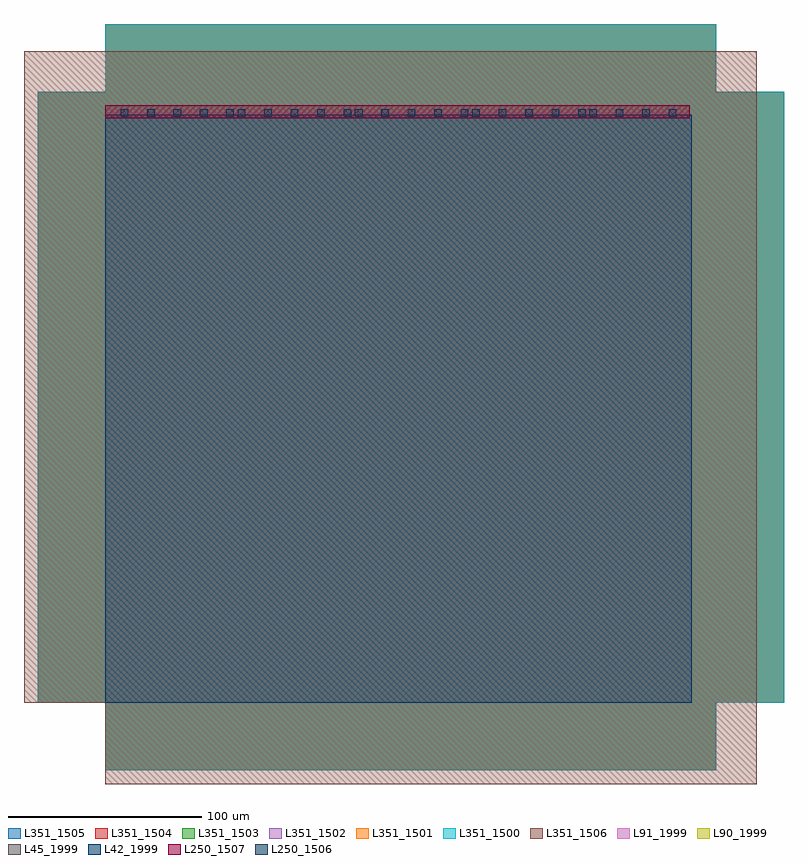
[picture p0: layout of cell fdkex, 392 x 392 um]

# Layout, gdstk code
import gdstk
lib = gdstk.Library(unit=1e-6, precision=1e-10)
def R(c, l, rs):  # rectangles x0, y0, x1, y1
    for r in rs: c.add(gdstk.rectangle(r[:2], r[2:], *l))
def A(c, l, x, y, w, h, nx, ny, dx, dy):  # array of equal rectangles
    R(c, l, [(x+i*dx, y+j*dy, x+i*dx+w, y+j*dy+h) for i in range(nx) for j in range(ny)])
L42_1999 = (42, 1999)
L45_1999 = (45, 1999)
L90_1999 = (90, 1999)
L91_1999 = (91, 1999)
L250_1506 = (250, 1506)
L250_1507 = (250, 1507)
L351_1500 = (351, 1500)
L351_1501 = (351, 1501)
L351_1502 = (351, 1502)
L351_1503 = (351, 1503)
L351_1504 = (351, 1504)
L351_1505 = (351, 1505)
L351_1506 = (351, 1506)

fdkex = lib.new_cell('fdkex')
R(fdkex, L42_1999, [(0,0,302.4,303.24)])
R(fdkex, L45_1999, [(0,0,302.4,303.24)])
R(fdkex, L90_1999, [(0,0,302.4,303.24)])
R(fdkex, L91_1999, [(0,0,302.4,303.24)])
A(fdkex, L250_1506, 7.8, 302.25, 3.9, 3.9, 5, 1, 13.65, 0)
A(fdkex, L250_1506, 68.25, 302.25, 3.9, 3.9, 5, 1, 13.65, 0)
A(fdkex, L250_1506, 128.7, 302.25, 3.9, 3.9, 5, 1, 13.65, 0)
A(fdkex, L250_1506, 189.15, 302.25, 3.9, 3.9, 5, 1, 13.65, 0)
A(fdkex, L250_1506, 249.6, 302.25, 3.9, 3.9, 4, 1, 13.65, 0)
A(fdkex, L250_1507, 0, 301.5, 6.7, 6.7, 89, 1, 3.35, 0)
A(fdkex, L351_1500, 0, -35, 70, 70, 8, 2, 35, 315)
A(fdkex, L351_1500, -35, 0, 70, 70, 10, 8, 35, 35)
A(fdkex, L351_1501, 0, -35, 70, 70, 8, 2, 35, 315)
A(fdkex, L351_1501, -35, 0, 70, 70, 10, 8, 35, 35)
A(fdkex, L351_1502, 0, -35, 70, 70, 8, 2, 35, 315)
A(fdkex, L351_1502, -35, 0, 70, 70, 10, 8, 35, 35)
A(fdkex, L351_1503, 0, -35, 70, 70, 8, 2, 35, 315)
A(fdkex, L351_1503, -35, 0, 70, 70, 10, 8, 35, 35)
A(fdkex, L351_1504, 0, -35, 70, 70, 8, 2, 35, 315)
A(fdkex, L351_1504, -35, 0, 70, 70, 10, 8, 35, 35)
A(fdkex, L351_1505, 0, -35, 70, 70, 8, 2, 35, 315)
A(fdkex, L351_1505, -35, 0, 70, 70, 10, 8, 35, 35)
A(fdkex, L351_1506, 0, -42, 84, 84, 7, 1, 42, 0)
A(fdkex, L351_1506, -42, 0, 84, 84, 8, 7, 42, 42)

lib.write_gds('fdkex.gds')
